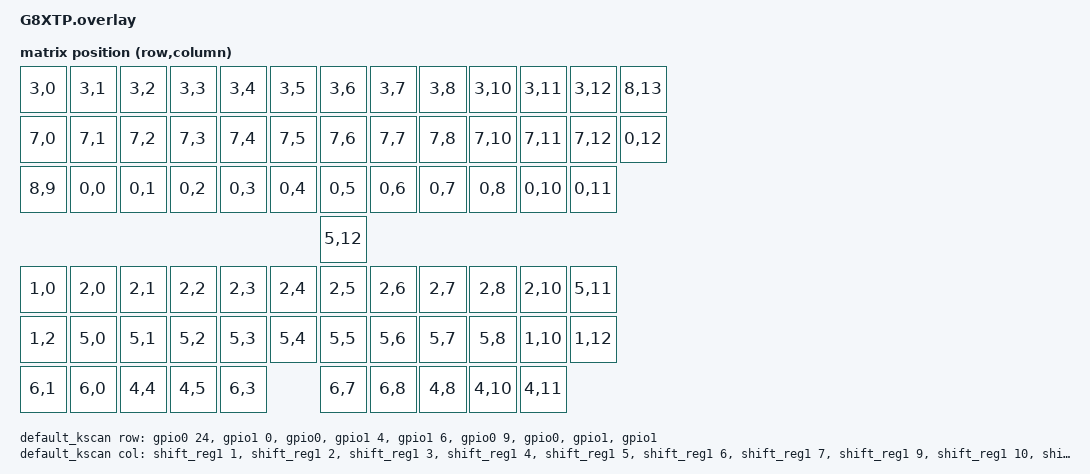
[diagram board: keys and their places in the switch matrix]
#include <dt-bindings/zmk/matrix_transform.h>

&pinctrl {
    spi1_default: spi1_default {
        group1 {
            psels = <NRF_PSEL(SPIM_SCK, 0, 20)>,
                    <NRF_PSEL(SPIM_MOSI, 0, 17)>;
        };
    };
};

&spi1 {
    status = "okay";

    cs-gpios = <&gpio0 22 GPIO_ACTIVE_LOW>;

    shift_reg1: 595@0 {
        compatible = "zmk,gpio-595";
        status = "okay";
        gpio-controller;
        spi-max-frequency = <200000>;
        reg = <0>;
        #gpio-cells = <2>;
        ngpios = <16>;
    };
};

/ {
    chosen {
        zmk,kscan = &default_kscan;
        zmk,matrix_transform = &default_transform;
    };

    default_kscan: kscan {
        compatible = "zmk,kscan-gpio-matrix";
        debounce-press-ms = <5>;
        debounce-release-ms = <5>;

        diode-direction = "col2row";

        col-gpios = 
            <&shift_reg1 1 (GPIO_ACTIVE_HIGH)>,
            <&shift_reg1 2 (GPIO_ACTIVE_HIGH)>,
            <&shift_reg1 3 (GPIO_ACTIVE_HIGH)>,
            <&shift_reg1 4 (GPIO_ACTIVE_HIGH)>,
            <&shift_reg1 5 (GPIO_ACTIVE_HIGH)>,
            <&shift_reg1 6 (GPIO_ACTIVE_HIGH)>,
            <&shift_reg1 7 (GPIO_ACTIVE_HIGH)>,
            <&shift_reg1 9 (GPIO_ACTIVE_HIGH)>,
            <&shift_reg1 10 (GPIO_ACTIVE_HIGH)>,
            <&shift_reg1 11 (GPIO_ACTIVE_HIGH)>,
            <&shift_reg1 12 (GPIO_ACTIVE_HIGH)>,
            <&shift_reg1 13 (GPIO_ACTIVE_HIGH)>,
            <&shift_reg1 14 (GPIO_ACTIVE_HIGH)>,
            <&shift_reg1 15 (GPIO_ACTIVE_HIGH)>;
            

        row-gpios = 
            <&gpio0 24 (GPIO_ACTIVE_HIGH | GPIO_PULL_DOWN)>,
            <&gpio1 0 (GPIO_ACTIVE_HIGH | GPIO_PULL_DOWN)>,
            <&gpio0 11( GPIO_ACTIVE_HIGH | GPIO_PULL_DOWN)>,
            <&gpio1 4 (GPIO_ACTIVE_HIGH | GPIO_PULL_DOWN)>,
            <&gpio1 6 (GPIO_ACTIVE_HIGH | GPIO_PULL_DOWN)>,
            <&gpio0 9 (GPIO_ACTIVE_HIGH | GPIO_PULL_DOWN)>,
            <&gpio0 10( GPIO_ACTIVE_HIGH | GPIO_PULL_DOWN)>,
            <&gpio1 11( GPIO_ACTIVE_HIGH | GPIO_PULL_DOWN)>,
            <&gpio1 13( GPIO_ACTIVE_HIGH | GPIO_PULL_DOWN)>;

    };

    default_transform: matrix_transform {
        compatible = "zmk,matrix-transform";
        rows = <9>;
        columns = <14>;

        map = <
        
            RC(3,0)	RC(3,1)	RC(3,2)	RC(3,3)	RC(3,4)	RC(3,5)	RC(3,6)	RC(3,7)	RC(3,8)	RC(3,10)	RC(3,11)	RC(3,12)	RC(8,13)
            RC(7,0)	RC(7,1)	RC(7,2)	RC(7,3)	RC(7,4)	RC(7,5)	RC(7,6)	RC(7,7)	RC(7,8)	RC(7,10)	RC(7,11)	RC(7,12)	RC(0,12)
            RC(8,9)	RC(0,0)	RC(0,1)	RC(0,2)	RC(0,3)	RC(0,4)	RC(0,5)	RC(0,6)	RC(0,7)	RC(0,8)	RC(0,10)	RC(0,11)	
                                                            RC(5,12)
            RC(1,0)	RC(2,0)	RC(2,1)	RC(2,2)	RC(2,3)	RC(2,4)	RC(2,5)	RC(2,6)	RC(2,7)	RC(2,8)	RC(2,10)	RC(5,11)	
            RC(1,2)	RC(5,0)	RC(5,1)	RC(5,2)	RC(5,3)	RC(5,4)	RC(5,5)	RC(5,6)	RC(5,7)	RC(5,8)	RC(1,10)	RC(1,12)	
            RC(6,1)	RC(6,0)	RC(4,4)	RC(4,5)		RC(6,3)			RC(6,7)	RC(6,8)	RC(4,8)	RC(4,10)	RC(4,11)




        >;
    };
};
